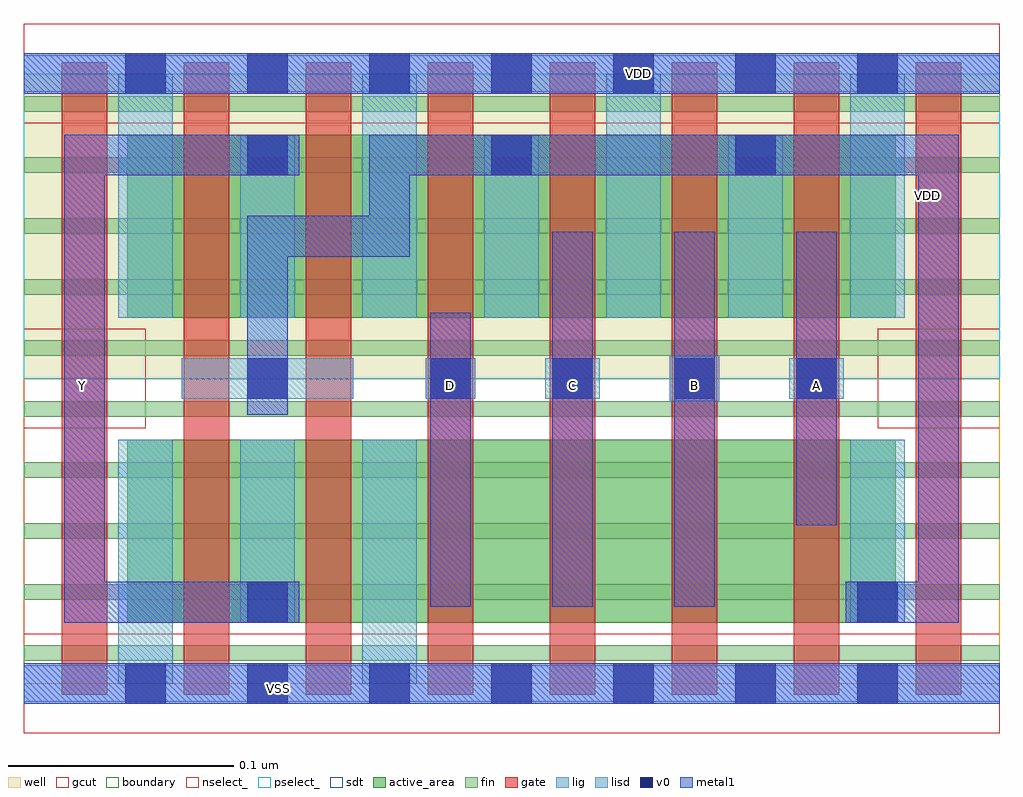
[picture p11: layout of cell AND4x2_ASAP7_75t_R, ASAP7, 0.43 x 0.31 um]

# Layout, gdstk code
import gdstk
lib = gdstk.Library(unit=1e-6, precision=2.5e-10)
def R(c, l, rs):  # rectangles x0, y0, x1, y1
    for r in rs: c.add(gdstk.rectangle(r[:2], r[2:], *l))
def A(c, l, x, y, w, h, nx, ny, dx, dy):  # array of equal rectangles
    R(c, l, [(x+i*dx, y+j*dy, x+i*dx+w, y+j*dy+h) for i in range(nx) for j in range(ny)])
def P(c, l, *ps):  # polygons
    for p in ps: c.add(gdstk.Polygon(p, *l))
well = (1, 0)
fin = (2, 0)
gate = (7, 0)
gcut = (10, 0)
active_area = (11, 0)
nselect_ = (12, 0)
pselect_ = (13, 0)
lig = (16, 0)
lisd = (17, 0)
v0 = (18, 0)
metal1 = (19, 0)
sdt = (88, 0)
boundary = (100, 0)

and4x2_asap7_75t_r = lib.new_cell('AND4x2_ASAP7_75t_R')
R(and4x2_asap7_75t_r, well, [(0,0.135,0.432,0.27)])
A(and4x2_asap7_75t_r, fin, 0, 0.01, 0.432, 0.007, 1, 10, 0, 0.027)
A(and4x2_asap7_75t_r, gate, 0.017, -0.005, 0.02, 0.28, 8, 1, 0.054, 0)
R(and4x2_asap7_75t_r, gcut, [(0,-0.022,0.432,0.022), (0,0.113,0.054,0.157), (0.378,0.113,0.432,0.157), (0,0.248,0.432,0.292)])
R(and4x2_asap7_75t_r, active_area, [(0.046,0.027,0.386,0.108), (0.046,0.162,0.386,0.243)])
R(and4x2_asap7_75t_r, nselect_, [(0,0,0.432,0.135)])
R(and4x2_asap7_75t_r, pselect_, [(0,0.135,0.432,0.27)])
R(and4x2_asap7_75t_r, lig, [(0,-0.008,0.432,0.008), (0.286,0.125,0.308,0.145), (0.07,0.126,0.146,0.144), (0.178,0.126,0.2,0.144), (0.231,0.126,0.255,0.144), (0.339,0.126,0.363,0.144), (0,0.262,0.432,0.278)])
A(and4x2_asap7_75t_r, lisd, 0.042, 0.162, 0.024, 0.108, 4, 1, 0.108, 0)
A(and4x2_asap7_75t_r, lisd, 0.096, 0.162, 0.024, 0.081, 3, 1, 0.108, 0)
R(and4x2_asap7_75t_r, lisd, [(0.042,0,0.066,0.108), (0.15,0,0.174,0.108), (0.096,0.027,0.12,0.108), (0.366,0.027,0.39,0.108)])
A(and4x2_asap7_75t_r, v0, 0.045, -0.009, 0.018, 0.018, 7, 2, 0.054, 0.27)
A(and4x2_asap7_75t_r, v0, 0.18, 0.126, 0.018, 0.018, 4, 1, 0.054, 0)
A(and4x2_asap7_75t_r, v0, 0.099, 0.225, 0.018, 0.018, 3, 1, 0.108, 0)
R(and4x2_asap7_75t_r, v0, [(0.099,0.027,0.117,0.045), (0.369,0.027,0.387,0.045), (0.099,0.126,0.117,0.144)])
R(and4x2_asap7_75t_r, metal1, [(0,-0.009,0.432,0.009), (0.18,0.034,0.198,0.164), (0.234,0.034,0.252,0.2), (0.288,0.034,0.306,0.2), (0.342,0.07,0.36,0.2), (0,0.261,0.432,0.279)])
P(and4x2_asap7_75t_r, metal1, [(0.122,0.045),(0.036,0.045),(0.036,0.225),(0.122,0.225),(0.122,0.243),(0.018,0.243),(0.018,0.027),(0.122,0.027)],
  [(0.414,0.243),(0.153,0.243),(0.153,0.207),(0.099,0.207),(0.099,0.119),(0.117,0.119),(0.117,0.189),(0.171,0.189),(0.171,0.225),(0.396,0.225),(0.396,0.045),(0.364,0.045),(0.364,0.027),(0.414,0.027)])
A(and4x2_asap7_75t_r, sdt, 0.042, 0.027, 0.024, 0.081, 3, 1, 0.054, 0)
A(and4x2_asap7_75t_r, sdt, 0.042, 0.162, 0.024, 0.081, 7, 1, 0.054, 0)
R(and4x2_asap7_75t_r, sdt, [(0.366,0.027,0.39,0.108)])
R(and4x2_asap7_75t_r, boundary, [(0,0,0.432,0.27)])
and4x2_asap7_75t_r.add(gdstk.Label('VDD', (0.4,0.216), layer=1, texttype=251))
and4x2_asap7_75t_r.add(gdstk.Label('VSS', (0.113,-0.002), layer=19, texttype=251))
and4x2_asap7_75t_r.add(gdstk.Label('VDD', (0.272,0.27), layer=19, texttype=251))
and4x2_asap7_75t_r.add(gdstk.Label('Y', (0.026,0.132), layer=19, texttype=251))
and4x2_asap7_75t_r.add(gdstk.Label('A', (0.351,0.132), layer=19, texttype=251))
and4x2_asap7_75t_r.add(gdstk.Label('B', (0.297,0.132), layer=19, texttype=251))
and4x2_asap7_75t_r.add(gdstk.Label('C', (0.243,0.132), layer=19, texttype=251))
and4x2_asap7_75t_r.add(gdstk.Label('D', (0.189,0.132), layer=19, texttype=251))
and4x2_asap7_75t_r.add(gdstk.Label('VSS', (0.204,-0.054), layer=3, texttype=251))

lib.write_gds('AND4x2_ASAP7_75t_R.gds')
